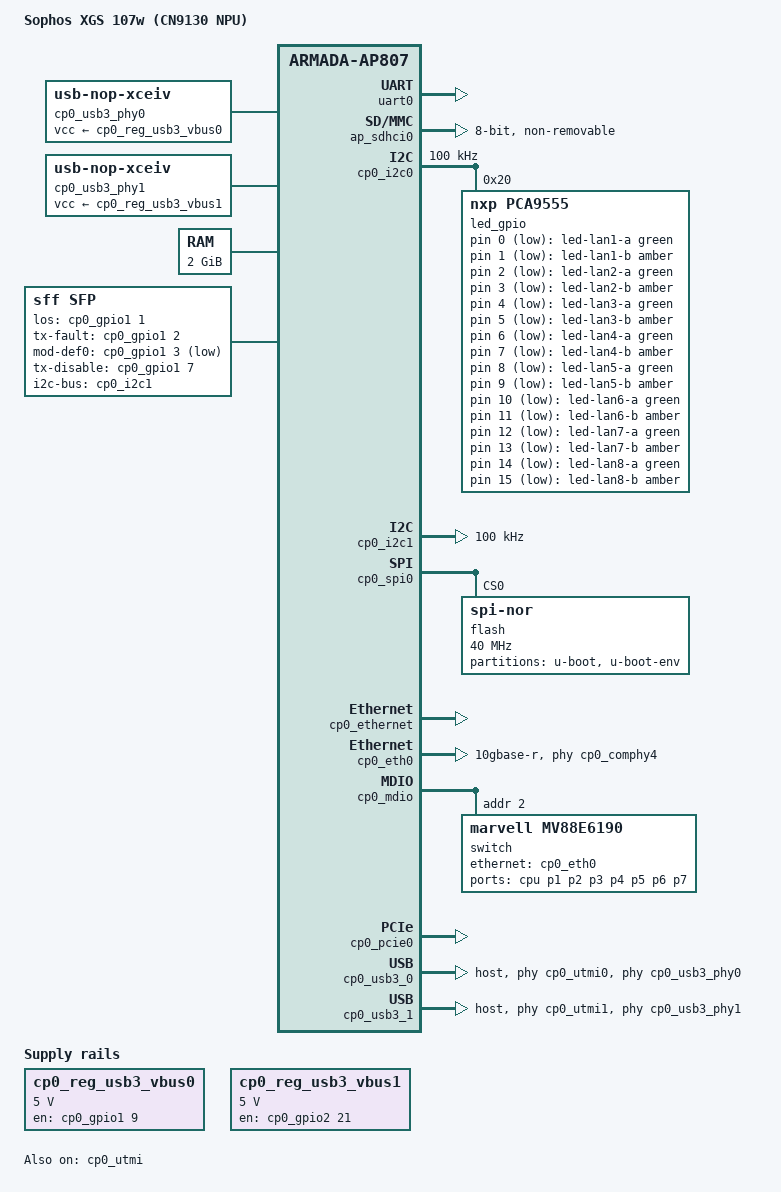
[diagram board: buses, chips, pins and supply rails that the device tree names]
// SPDX-License-Identifier: (GPL-2.0+ OR MIT)
/*
 * Sophos XGS 87(w) / 107(w) — NPU complex: Marvell CN9130 + 88E6193X.
 *
 * Derived from the stock "Marvell CN9130 Senao XGS board" device tree
 * (cn9130-senao-xgs.dtb, SFOS 19.5.4) and SFOS's xgs-platform port map.
 * See docs/hardware-architecture.md.
 *
 * The x86 host on the same board is not described here: the CN9130 is a
 * PCIe endpoint towards it, and endpoint mode is not used by this DT.
 */

/dts-v1/;

#include "cn9130.dtsi"
#include <dt-bindings/gpio/gpio.h>
#include <dt-bindings/leds/common.h>

/ {
	model = "Sophos XGS 107w (CN9130 NPU)";
	compatible = "sophos,xgs107w-npu", "marvell,cn9130",
		     "marvell,armada-ap807-quad", "marvell,armada-ap807";

	/* VBUS switches of the two xHCI ports, GPIOs taken from the stock DT */
	cp0_reg_usb3_vbus0: regulator-usb3-vbus0 {
		compatible = "regulator-fixed";
		regulator-name = "cp0-xhci0-vbus";
		regulator-min-microvolt = <5000000>;
		regulator-max-microvolt = <5000000>;
		enable-active-high;
		gpio = <&cp0_gpio1 9 GPIO_ACTIVE_HIGH>;
	};

	cp0_reg_usb3_vbus1: regulator-usb3-vbus1 {
		compatible = "regulator-fixed";
		regulator-name = "cp0-xhci1-vbus";
		regulator-min-microvolt = <5000000>;
		regulator-max-microvolt = <5000000>;
		enable-active-high;
		gpio = <&cp0_gpio2 21 GPIO_ACTIVE_HIGH>;
	};

	cp0_usb3_phy0: usb-phy-0 {
		compatible = "usb-nop-xceiv";
		vcc-supply = <&cp0_reg_usb3_vbus0>;
	};

	cp0_usb3_phy1: usb-phy-1 {
		compatible = "usb-nop-xceiv";
		vcc-supply = <&cp0_reg_usb3_vbus1>;
	};

	/*
	 * Port LEDs: two PCA9555 pins per RJ45 port (stock "gpio:3:<hi>:<lo>",
	 * port n = pins 2n-1 / 2n-2). Which pin is which colour and the pin
	 * polarity are not documented; active-low is the usual sink wiring and
	 * has to be confirmed by eye (README, "LEDs").
	 */
	leds {
		compatible = "gpio-leds";

		led-lan1-a {
			function = LED_FUNCTION_LAN;
			function-enumerator = <1>;
			color = <LED_COLOR_ID_GREEN>;
			gpios = <&led_gpio 0 GPIO_ACTIVE_LOW>;
		};

		led-lan1-b {
			function = LED_FUNCTION_LAN;
			function-enumerator = <1>;
			color = <LED_COLOR_ID_AMBER>;
			gpios = <&led_gpio 1 GPIO_ACTIVE_LOW>;
		};

		led-lan2-a {
			function = LED_FUNCTION_LAN;
			function-enumerator = <2>;
			color = <LED_COLOR_ID_GREEN>;
			gpios = <&led_gpio 2 GPIO_ACTIVE_LOW>;
		};

		led-lan2-b {
			function = LED_FUNCTION_LAN;
			function-enumerator = <2>;
			color = <LED_COLOR_ID_AMBER>;
			gpios = <&led_gpio 3 GPIO_ACTIVE_LOW>;
		};

		led-lan3-a {
			function = LED_FUNCTION_LAN;
			function-enumerator = <3>;
			color = <LED_COLOR_ID_GREEN>;
			gpios = <&led_gpio 4 GPIO_ACTIVE_LOW>;
		};

		led-lan3-b {
			function = LED_FUNCTION_LAN;
			function-enumerator = <3>;
			color = <LED_COLOR_ID_AMBER>;
			gpios = <&led_gpio 5 GPIO_ACTIVE_LOW>;
		};

		led-lan4-a {
			function = LED_FUNCTION_LAN;
			function-enumerator = <4>;
			color = <LED_COLOR_ID_GREEN>;
			gpios = <&led_gpio 6 GPIO_ACTIVE_LOW>;
		};

		led-lan4-b {
			function = LED_FUNCTION_LAN;
			function-enumerator = <4>;
			color = <LED_COLOR_ID_AMBER>;
			gpios = <&led_gpio 7 GPIO_ACTIVE_LOW>;
		};

		led-lan5-a {
			function = LED_FUNCTION_LAN;
			function-enumerator = <5>;
			color = <LED_COLOR_ID_GREEN>;
			gpios = <&led_gpio 8 GPIO_ACTIVE_LOW>;
		};

		led-lan5-b {
			function = LED_FUNCTION_LAN;
			function-enumerator = <5>;
			color = <LED_COLOR_ID_AMBER>;
			gpios = <&led_gpio 9 GPIO_ACTIVE_LOW>;
		};

		led-lan6-a {
			function = LED_FUNCTION_LAN;
			function-enumerator = <6>;
			color = <LED_COLOR_ID_GREEN>;
			gpios = <&led_gpio 10 GPIO_ACTIVE_LOW>;
		};

		led-lan6-b {
			function = LED_FUNCTION_LAN;
			function-enumerator = <6>;
			color = <LED_COLOR_ID_AMBER>;
			gpios = <&led_gpio 11 GPIO_ACTIVE_LOW>;
		};

		led-lan7-a {
			function = LED_FUNCTION_LAN;
			function-enumerator = <7>;
			color = <LED_COLOR_ID_GREEN>;
			gpios = <&led_gpio 12 GPIO_ACTIVE_LOW>;
		};

		led-lan7-b {
			function = LED_FUNCTION_LAN;
			function-enumerator = <7>;
			color = <LED_COLOR_ID_AMBER>;
			gpios = <&led_gpio 13 GPIO_ACTIVE_LOW>;
		};

		led-lan8-a {
			function = LED_FUNCTION_LAN;
			function-enumerator = <8>;
			color = <LED_COLOR_ID_GREEN>;
			gpios = <&led_gpio 14 GPIO_ACTIVE_LOW>;
		};

		led-lan8-b {
			function = LED_FUNCTION_LAN;
			function-enumerator = <8>;
			color = <LED_COLOR_ID_AMBER>;
			gpios = <&led_gpio 15 GPIO_ACTIVE_LOW>;
		};
	};

	chosen {
		stdout-path = "serial0:115200n8";
	};

	aliases {
		ethernet0 = &cp0_eth0;
		i2c0 = &cp0_i2c0;
		i2c1 = &cp0_i2c1;
		spi0 = &cp0_spi0;
	};

	memory@0 {
		device_type = "memory";
		reg = <0x0 0x0 0x0 0x80000000>;
	};

	reserved-memory {
		/* OP-TEE, as reserved by the stock firmware (TF-A 10.22.06) */
		tee@4400000 {
			reg = <0x0 0x4400000 0x0 0x1000000>;
			no-map;
		};
	};

	/* Front-panel SFP "F1", wired to 88E6193X port 9 */
	sfp: sfp {
		compatible = "sff,sfp";
		i2c-bus = <&cp0_i2c1>;
		los-gpios = <&cp0_gpio1 1 GPIO_ACTIVE_HIGH>;
		tx-fault-gpios = <&cp0_gpio1 2 GPIO_ACTIVE_HIGH>;
		mod-def0-gpios = <&cp0_gpio1 3 GPIO_ACTIVE_LOW>;
		tx-disable-gpios = <&cp0_gpio1 7 GPIO_ACTIVE_HIGH>;
		maximum-power-milliwatt = <2000>;
	};
};

&uart0 {
	status = "okay";
};

/* 8 GB eMMC on the AP */
&ap_sdhci0 {
	bus-width = <8>;
	non-removable;
	mmc-ddr-1_8v;
	status = "okay";
};

/*
 * MPP muxing is left as set up by the stock U-Boot: no pin groups are
 * claimed here, the controller only exists for the GPIO banks.
 */
&cp0_syscon0 {
	cp0_pinctrl: pinctrl {
		compatible = "marvell,cp115-standalone-pinctrl";
	};
};

&cp0_gpio1 {
	status = "okay";
};

&cp0_gpio2 {
	status = "okay";
};

&cp0_i2c0 {
	clock-frequency = <100000>;
	status = "okay";

	/* Port speed LEDs (xgs-platform "gpio:3:*") */
	led_gpio: gpio@20 {
		compatible = "nxp,pca9555";
		reg = <0x20>;
		gpio-controller;
		#gpio-cells = <2>;
	};
};

&cp0_i2c1 {
	/* SFP EEPROM (0x50/0x51) */
	clock-frequency = <100000>;
	status = "okay";
};

/*
 * 4 MB SPI NOR: stock U-Boot + env. Read-only on purpose.
 * The stock DT calls this controller (0x700600) "cell-index 1", but in
 * mainline it is cp0_spi0.
 */
&cp0_spi0 {
	status = "okay";

	flash@0 {
		compatible = "jedec,spi-nor";
		reg = <0>;
		spi-max-frequency = <40000000>;

		partitions {
			compatible = "fixed-partitions";
			#address-cells = <1>;
			#size-cells = <1>;

			partition@0 {
				label = "u-boot";
				reg = <0x0 0x3f0000>;
				read-only;
			};

			partition@3f0000 {
				label = "u-boot-env";
				reg = <0x3f0000 0x10000>;
				read-only;
			};
		};
	};
};

&cp0_ethernet {
	status = "okay";
};

/* 10G link to 88E6193X port 0, comphy lane 4 */
&cp0_eth0 {
	status = "okay";
	phy-mode = "10gbase-r";
	phys = <&cp0_comphy4 0>;
	managed = "in-band-status";
};

&cp0_mdio {
	status = "okay";

	switch@2 {
		compatible = "marvell,mv88e6190";
		reg = <2>;
		/*
		 * The switch reset line is CP GPIO2 pin 17 (stock U-Boot
		 * "sw_init_p0: gpio clear C17 … gpio set C17"; U-Boot names the
		 * banks A = AP, B = CP gpio1, C = CP gpio2). It is deliberately
		 * not given to the driver as reset-gpios: after reset the 6193X
		 * needs far longer than mv88e6xxx's 10 ms + 50 ms poll (stock
		 * waits 2 s), and probing times out with -ETIMEDOUT. The reset
		 * is done by whatever starts this kernel (bootloader or kexec
		 * wrapper) instead.
		 */

		ports {
			#address-cells = <1>;
			#size-cells = <0>;

			port@0 {
				reg = <0>;
				label = "cpu";
				ethernet = <&cp0_eth0>;
				phy-mode = "10gbase-r";
				managed = "in-band-status";
			};

			port@1 {
				reg = <1>;
				label = "p1";
			};

			port@2 {
				reg = <2>;
				label = "p2";
			};

			port@3 {
				reg = <3>;
				label = "p3";
			};

			port@4 {
				reg = <4>;
				label = "p4";
			};

			port@5 {
				reg = <5>;
				label = "p5";
			};

			port@6 {
				reg = <6>;
				label = "p6";
			};

			port@7 {
				reg = <7>;
				label = "p7";
			};

			port@8 {
				reg = <8>;
				label = "p8";
			};

			port@9 {
				reg = <9>;
				label = "sfp";
				phy-mode = "1000base-x";
				managed = "in-band-status";
				sfp = <&sfp>;
			};
		};
	};
};

/*
 * PCIe controller 0 is wired to the x86 host and left by the stock U-Boot in
 * endpoint mode with the link up. Drive it as a DesignWare endpoint so that
 * pci-epf-vntb can give the host a virtual Ethernet (ntb_netdev).
 * dbi/dbi2 offsets and the 32 GB outbound window come from the stock DT
 * (pcie-ep@600000 and pci-ep-uio host-map).
 */
&cp0_pcie0 {
	/delete-property/ device_type;
	/delete-property/ dma-coherent;
	/delete-property/ msi-parent;
	/delete-property/ bus-range;
	/delete-property/ ranges;
	/delete-property/ interrupt-map;
	/delete-property/ interrupt-map-mask;
	/delete-property/ #address-cells;
	/delete-property/ #size-cells;
	/delete-property/ #interrupt-cells;
	/delete-property/ num-lanes;
	/delete-property/ interrupts;
	/delete-property/ clock-names;
	/delete-property/ clocks;
	compatible = "snps,dw-pcie-ep";
	reg = <0 0xf2600000 0 0x1000>,
	      <0 0xf2604000 0 0x1000>,
	      <0x80 0x0 0x0 0x10000000>;
	reg-names = "dbi", "dbi2", "addr_space";
	clocks = <&cp0_clk 1 13>;
	clock-names = "core";
	max-functions = /bits/ 8 <1>;
	num-ib-windows = <8>;
	num-ob-windows = <8>;
	status = "okay";
};

&cp0_utmi {
	status = "okay";
};

&cp0_usb3_0 {
	status = "okay";
	usb-phy = <&cp0_usb3_phy0>;
	phys = <&cp0_utmi0>;
	phy-names = "utmi";
	dr_mode = "host";
};

&cp0_usb3_1 {
	status = "okay";
	usb-phy = <&cp0_usb3_phy1>;
	phys = <&cp0_utmi1>;
	phy-names = "utmi";
	dr_mode = "host";
};
